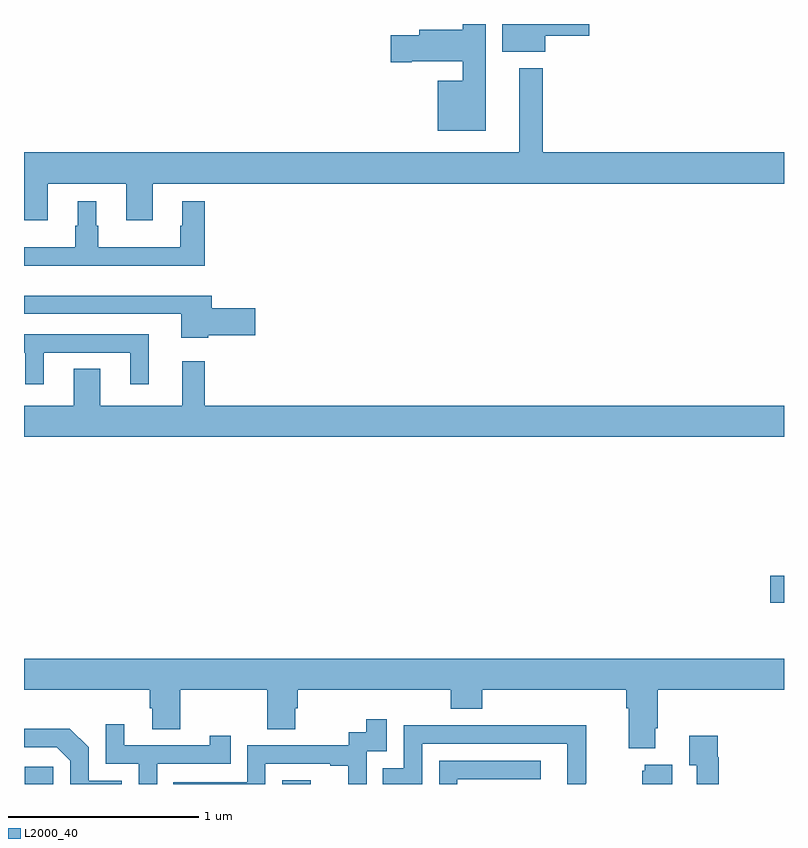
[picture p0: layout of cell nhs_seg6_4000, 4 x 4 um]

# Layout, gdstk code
import gdstk
lib = gdstk.Library(unit=1e-6, precision=1e-09)
def R(c, l, rs):  # rectangles x0, y0, x1, y1
    for r in rs: c.add(gdstk.rectangle(r[:2], r[2:], *l))
def P(c, l, *ps):  # polygons
    for p in ps: c.add(gdstk.Polygon(p, *l))
L2000_40 = (2000, 40)

nhs_seg6_4000 = lib.new_cell('nhs_seg6_4000')
R(nhs_seg6_4000, L2000_40, [(347.004,953.5,347.154,953.59), (348.36,953.5,348.508,953.521), (350.928,954.454,351,954.596)])
P(nhs_seg6_4000, L2000_40, [(349.429,957.5),(349.308,957.5),(349.308,957.47),(349.079,957.47),(349.079,957.44),(348.93,957.44),(348.93,957.298),(349.042,957.298),(349.042,957.305),(349.308,957.305),(349.308,957.202),(349.178,957.202),(349.178,956.939),(349.429,956.939)],
  [(349.744,957.437),(349.975,957.437),(349.975,957.5),(349.517,957.5),(349.517,957.353),(349.744,957.353)],
  [(347.125,956.66),(347.537,956.66),(347.537,956.466),(347.677,956.466),(347.677,956.66),(351,956.66),(351,956.824),(349.729,956.824),(349.729,957.268),(349.607,957.268),(349.607,956.824),(347,956.824),(347,956.466),(347.125,956.466)],
  [(347.951,956.566),(347.834,956.566),(347.834,956.438),(347.823,956.438),(347.823,956.326),(347.392,956.326),(347.392,956.438),(347.38,956.438),(347.38,956.566),(347.282,956.566),(347.282,956.438),(347.271,956.438),(347.271,956.326),(347,956.326),(347,956.228),(347.951,956.228)],
  [(347.97,955.861),(348.217,955.861),(348.217,956.003),(347.987,956.003),(347.987,956.071),(347,956.071),(347,955.974),(347.828,955.974),(347.828,955.85),(347.97,955.85)],
  [(347.104,955.77),(347.558,955.77),(347.558,955.605),(347.657,955.605),(347.657,955.866),(347,955.866),(347,955.77),(347.006,955.77),(347.006,955.605),(347.104,955.605)],
  [(351,955.492),(347.951,955.492),(347.951,955.726),(347.834,955.726),(347.834,955.492),(347.401,955.492),(347.401,955.685),(347.261,955.685),(347.261,955.492),(347,955.492),(347,955.328),(351,955.328)],
  [(350.323,953.794),(350.336,953.794),(350.336,953.996),(351,953.996),(351,954.16),(347,954.16),(347,953.996),(347.663,953.996),(347.663,953.898),(347.675,953.898),(347.675,953.788),(347.823,953.788),(347.823,953.996),(348.28,953.996),(348.28,953.788),(348.427,953.788),(348.427,953.898),(348.44,953.898),(348.44,953.996),(349.247,953.996),(349.247,953.897),(349.412,953.897),(349.412,953.996),(350.171,953.996),(350.171,953.9),(350.183,953.9),(350.183,953.687),(350.323,953.687)],
  [(348.27,953.607),(348.611,953.607),(348.611,953.595),(348.707,953.595),(348.707,953.5),(348.804,953.5),(348.804,953.673),(348.909,953.673),(348.909,953.842),(348.801,953.842),(348.801,953.772),(348.708,953.772),(348.708,953.703),(348.174,953.703),(348.174,953.508),(347.785,953.508),(347.785,953.5),(348.27,953.5)],
  [(347.7,953.607),(348.089,953.607),(348.089,953.755),(347.978,953.755),(347.978,953.703),(347.527,953.703),(347.527,953.815),(347.43,953.815),(347.43,953.607),(347.604,953.607),(347.604,953.5),(347.7,953.5)],
  [(349.095,953.712),(349.86,953.712),(349.86,953.5),(349.956,953.5),(349.956,953.503),(349.959,953.503),(349.959,953.81),(349.495,953.81),(349.495,953.808),(348.999,953.808),(348.999,953.583),(348.889,953.583),(348.889,953.5),(349.095,953.5)],
  [(347.514,953.517),(347.34,953.517),(347.34,953.694),(347.242,953.792),(347,953.792),(347,953.694),(347.172,953.694),(347.244,953.622),(347.244,953.5),(347.514,953.5)],
  [(350.657,953.642),(350.65,953.642),(350.65,953.755),(350.501,953.755),(350.501,953.599),(350.541,953.599),(350.541,953.5),(350.657,953.5)],
  [(349.281,953.526),(349.72,953.526),(349.72,953.622),(349.185,953.622),(349.185,953.5),(349.281,953.5)],
  [(350.413,953.602),(350.267,953.602),(350.267,953.571),(350.255,953.571),(350.255,953.5),(350.413,953.5)])

lib.write_gds('nhs_seg6_4000.gds')
